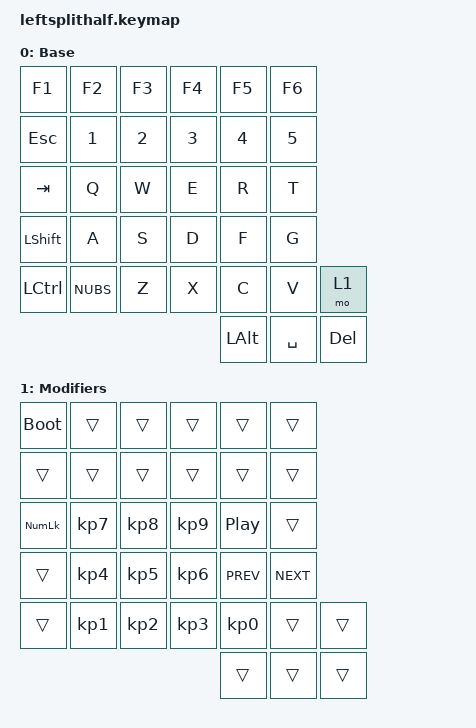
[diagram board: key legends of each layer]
#include <behaviors.dtsi>
#include <dt-bindings/zmk/keys.h>

/ {
    keymap {
        compatible = "zmk,keymap";

        default_layer { // Layer 0 
            display-name = "Base";
            
            bindings = <
                &kp F1      &kp F2      &kp F3      &kp F4      &kp F5      &kp F6

                &kp ESC     &kp N1      &kp N2      &kp N3      &kp N4      &kp N5

                &kp TAB     &kp Q       &kp W       &kp E       &kp R       &kp T

                &kp LSHFT   &kp A       &kp S       &kp D       &kp F       &kp G

                &kp LCTRL   &kp NUBS    &kp Z       &kp X       &kp C       &kp V       &mo 1

                                                                &kp LALT    &kp SPACE   &kp DEL
            >;
        };

        mods { // Layer 1 
            display-name = "Modifiers";
            
            bindings = <
                &bootloader &trans      &trans      &trans      &trans      &trans      
                &trans      &trans      &trans      &trans      &trans      &trans
                &kp KP_NUM  &kp KP_N7   &kp KP_N8   &kp KP_N9   &kp C_PP    &trans
                &trans      &kp KP_N4   &kp KP_N5   &kp KP_N6   &kp C_PREV  &kp C_NEXT
                &trans      &kp KP_N1   &kp KP_N2   &kp KP_N3   &kp KP_N0   &trans      &trans
                                                                &trans      &trans      &trans
            >;
        };
    };
 };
